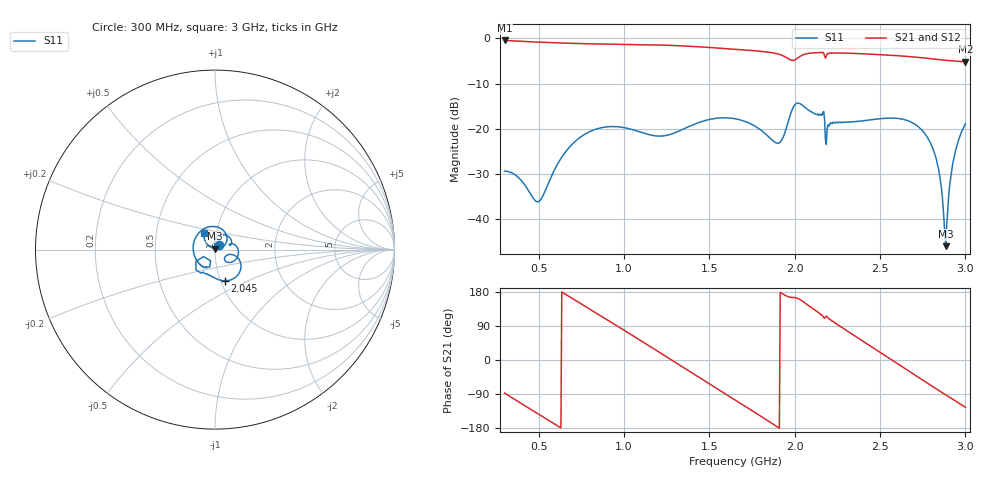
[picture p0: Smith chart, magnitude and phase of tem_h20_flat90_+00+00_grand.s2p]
! tem_h20_flat90_+00+00_grand
! simulated by sim/fixtures_fdtd.py (S12 = S21, S22 not computed)
# HZ S RI R 50
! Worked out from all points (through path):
!   541 points, 300 MHz to 3 GHz, reference 50 ohm
!   highest |S21| = -0.48 dB at 300 MHz (marker M1); lowest = -5.2 dB at 3 GHz (marker M2)
!   group delay of S21, straight-line fit = 775 ps
!   lowest |S11| = -46.0 dB at 2.885 GHz (marker M3), VSWR 1.01, Z = 49.9 + j0.5 ohm
!   |S11| at or under -10 dB: start of sweep to end of sweep
!   |S22| runs from - to - dB; largest |S21 - S12| = 0
!   S11 on the Smith chart (normalised r, x): 300 MHz: 1.05, +0.05; 2.045 GHz: 1.05, -0.38; 3 GHz: 0.87, +0.17
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3e8  0.0247 0.0234  0.0429 -0.9456  0.0429 -0.9456  0 0
5e8  0.00724 0.0139  -0.7273 -0.5422  -0.7273 -0.5422  0 0
6.25e8  -0.00251 0.0453  -0.8877 -0.0339  -0.8877 -0.0339  0 0
7.5e8  0.0253 0.0783  -0.7391 0.466  -0.7391 0.466  0 0
9.75e8  0.0905 0.0526  0.066 0.8554  0.066 0.8554  0 0
1.2e9  0.0793 0.0247  0.7809 0.3188  0.7809 0.3188  0 0
1.32e9  0.0881 0.0328  0.8096 -0.1725  0.8096 -0.1725  0 0
1.455e9  0.1187 0.0191  0.5104 -0.6183  0.5104 -0.6183  0 0
1.65e9  0.1186 -0.0508  -0.2016 -0.7298  -0.2016 -0.7298  0 0
1.905e9  0.0583 -0.0374  -0.6686 -0.018  -0.6686 -0.018  0 0
1.995e9  0.1444 -0.1046  -0.5514 0.1489  -0.5514 0.1489  0 0
2.045e9  0.0547 -0.1737  -0.5931 0.2716  -0.5931 0.2716  0 0
2.1e9  -0.014 -0.1528  -0.5079 0.465  -0.5079 0.465  0 0
2.165e9  -0.0766 -0.131  -0.3022 0.6335  -0.3022 0.6335  0 0
2.19e9  -0.0286 -0.0953  -0.274 0.6167  -0.274 0.6167  0 0
2.305e9  -0.1054 -0.0518  0.1489 0.6673  0.1489 0.6673  0 0
2.55e9  -0.0588 0.1174  0.6489 0.0646  0.6489 0.0646  0 0
2.785e9  0.0632 0.0412  0.2696 -0.5344  0.2696 -0.5344  0 0
2.84e9  0.0361 0.011  0.11 -0.5729  0.11 -0.5729  0 0
2.885e9  -0.000547 0.00501  -0.0197 -0.5703  -0.0197 -0.5703  0 0
2.93e9  -0.0373 0.0244  -0.1432 -0.5428  -0.1432 -0.5428  0 0
3e9  -0.064 0.0943  -0.3151 -0.4509  -0.3151 -0.4509  0 0
